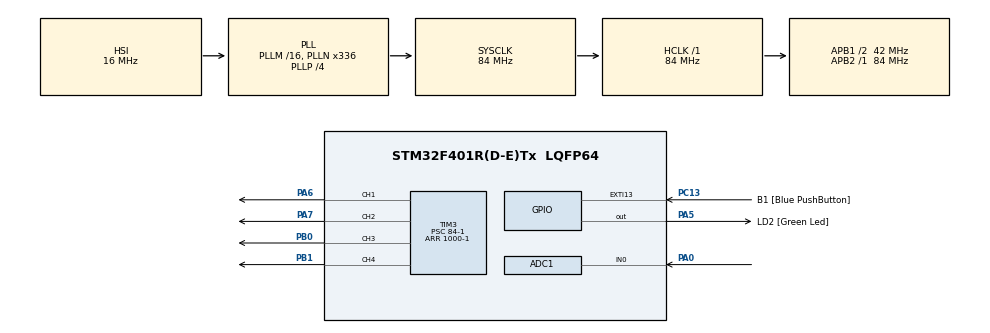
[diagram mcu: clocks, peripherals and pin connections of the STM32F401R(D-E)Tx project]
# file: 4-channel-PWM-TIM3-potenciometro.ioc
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ADC1.Channel-0\#ChannelRegularConversion=ADC_CHANNEL_0
ADC1.NbrOfConversionFlag=1
ADC1.Rank-0\#ChannelRegularConversion=1
ADC1.SamplingTime-0\#ChannelRegularConversion=ADC_SAMPLETIME_3CYCLES
ADC1.master=1
IWDG.Prescaler=IWDG_PRESCALER_256
IWDG.Reload=1249
Mcu.Family=STM32F4
Mcu.Name=STM32F401R(D-E)Tx
Mcu.Package=LQFP64
NVIC.ADC_IRQn=true\:0\:0\:false\:false\:true\:true\:true\:true
NVIC.PriorityGroup=NVIC_PRIORITYGROUP_4
NVIC.TIM2_IRQn=true\:0\:0\:false\:false\:true\:true\:true\:true
PA0-WKUP.Signal=ADCx_IN0
PA13.GPIO_Label=TMS
PA13.Mode=Trace_Asynchronous_SW
PA13.Signal=SYS_JTMS-SWDIO
PA14.GPIO_Label=TCK
PA14.Mode=Trace_Asynchronous_SW
PA14.Signal=SYS_JTCK-SWCLK
PA5.GPIO_Label=LD2 [Green Led]
PA5.GPIO_Mode=GPIO_MODE_OUTPUT_PP
PA5.GPIO_PuPd=GPIO_NOPULL
PA5.GPIO_Speed=GPIO_SPEED_FREQ_LOW
PA5.Signal=GPIO_Output
PA6.Signal=S_TIM3_CH1
PA7.Signal=S_TIM3_CH2
PB0.Signal=S_TIM3_CH3
PB1.Signal=S_TIM3_CH4
PB3.GPIO_Label=SWO
PB3.Mode=Trace_Asynchronous_SW
PB3.Signal=SYS_JTDO-SWO
PC13-ANTI_TAMP.GPIO_Label=B1 [Blue PushButton]
PC13-ANTI_TAMP.GPIO_ModeDefaultEXTI=GPIO_MODE_IT_FALLING
PC13-ANTI_TAMP.GPIO_PuPd=GPIO_NOPULL
PC13-ANTI_TAMP.Signal=GPXTI13
PC14-OSC32_IN.Mode=LSE-External-Oscillator
PC14-OSC32_IN.Signal=RCC_OSC32_IN
PC15-OSC32_OUT.Mode=LSE-External-Oscillator
PC15-OSC32_OUT.Signal=RCC_OSC32_OUT
PH0\ -\ OSC_IN.Mode=HSE-External-Clock-Source
PH0\ -\ OSC_IN.Signal=RCC_OSC_IN
PH1\ -\ OSC_OUT.Mode=HSE-External-Clock-Source
PH1\ -\ OSC_OUT.Signal=RCC_OSC_OUT
ProjectManager.HeapSize=0x200
ProjectManager.StackSize=0x400
ProjectManager.TargetToolchain=STM32CubeIDE
RCC.48MHZClocksFreq_Value=48000000
RCC.AHBFreq_Value=84000000
RCC.APB1CLKDivider=RCC_HCLK_DIV2
RCC.APB1Freq_Value=42000000
RCC.APB1TimFreq_Value=84000000
RCC.APB2Freq_Value=84000000
RCC.APB2TimFreq_Value=84000000
RCC.CortexFreq_Value=84000000
RCC.HCLKFreq_Value=84000000
RCC.HSE_VALUE=8000000
RCC.HSI_VALUE=16000000
RCC.PLLN=336
RCC.PLLP=RCC_PLLP_DIV4
RCC.PLLQ=7
RCC.SYSCLKFreq_VALUE=84000000
RCC.SYSCLKSource=RCC_SYSCLKSOURCE_PLLCLK
RCC.VCOOutputFreq_Value=336000000
SH.ADCx_IN0.0=ADC1_IN0,IN0
SH.S_TIM3_CH1.0=TIM3_CH1,PWM Generation1 CH1
SH.S_TIM3_CH2.0=TIM3_CH2,PWM Generation2 CH2
SH.S_TIM3_CH3.0=TIM3_CH3,PWM Generation3 CH3
SH.S_TIM3_CH4.0=TIM3_CH4,PWM Generation4 CH4
TIM2.AutoReloadPreload=TIM_AUTORELOAD_PRELOAD_ENABLE
TIM2.Period=10000-1
TIM2.Prescaler=84-1
TIM3.Channel-PWM\ Generation1\ CH1=TIM_CHANNEL_1
TIM3.Channel-PWM\ Generation2\ CH2=TIM_CHANNEL_2
TIM3.Channel-PWM\ Generation3\ CH3=TIM_CHANNEL_3
TIM3.Channel-PWM\ Generation4\ CH4=TIM_CHANNEL_4
TIM3.Period=1000-1
TIM3.Prescaler=84-1
VP_IWDG_VS_IWDG.Mode=IWDG_Activate
VP_TIM2_VS_ClockSourceINT.Mode=Internal
VP_TIM3_VS_ClockSourceINT.Mode=Internal
board=NUCLEO-F401RE

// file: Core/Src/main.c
/* USER CODE BEGIN Header */
/**
  ******************************************************************************
  * @file           : main.c
  * @brief          : Main program body
  ******************************************************************************
  * @attention
  *
  * Copyright (c) 2026 STMicroelectronics.
  * All rights reserved.
  *
  * This software is licensed under terms that can be found in the LICENSE file
  * in the root directory of this software component.
  * If no LICENSE file comes with this software, it is provided AS-IS.
  *
  ******************************************************************************
  */
/* USER CODE END Header */
#include "main.h"

ADC_HandleTypeDef hadc1;

IWDG_HandleTypeDef hiwdg;

TIM_HandleTypeDef htim2;
TIM_HandleTypeDef htim3;

uint16_t counter= 0;
uint16_t adc_value= 0;
uint16_t duty= 0;
uint16_t ledstatus= 1;

void SystemClock_Config(void);
static void MX_GPIO_Init(void);
static void MX_IWDG_Init(void);
static void MX_TIM2_Init(void);
static void MX_TIM3_Init(void);
static void MX_ADC1_Init(void);

int main(void)
{

  /* MCU Configuration--------------------------------------------------------*/

  /* Reset of all peripherals, Initializes the Flash interface and the Systick. */
  HAL_Init();

  /* Configure the system clock */
  SystemClock_Config();

  /* Initialize all configured peripherals */
  MX_GPIO_Init();
  MX_IWDG_Init();
  MX_TIM2_Init();
  MX_TIM3_Init();
  MX_ADC1_Init();
  /* USER CODE BEGIN 2 */

  HAL_TIM_PWM_Start(&htim3, TIM_CHANNEL_1);
  HAL_TIM_PWM_Start(&htim3, TIM_CHANNEL_2);
  HAL_TIM_PWM_Start(&htim3, TIM_CHANNEL_3);
  HAL_TIM_PWM_Start(&htim3, TIM_CHANNEL_4);

  HAL_TIM_Base_Start_IT(&htim2);
  /* USER CODE END 2 */

  /* Infinite loop */
  /* USER CODE BEGIN WHILE */
  while (1)
  {
	  HAL_IWDG_Refresh(&hiwdg); // this refreshes the watchdog timer
    /* USER CODE END WHILE */

  }
}

void SystemClock_Config(void)
{
  RCC_OscInitTypeDef RCC_OscInitStruct = {0};
  RCC_ClkInitTypeDef RCC_ClkInitStruct = {0};

  /** Configure the main internal regulator output voltage
  */
  __HAL_RCC_PWR_CLK_ENABLE();
  __HAL_PWR_VOLTAGESCALING_CONFIG(PWR_REGULATOR_VOLTAGE_SCALE2);

  /** Initializes the RCC Oscillators according to the specified parameters
  * in the RCC_OscInitTypeDef structure.
  */
  RCC_OscInitStruct.OscillatorType = RCC_OSCILLATORTYPE_HSI|RCC_OSCILLATORTYPE_LSI;
  RCC_OscInitStruct.HSIState = RCC_HSI_ON;
  RCC_OscInitStruct.HSICalibrationValue = RCC_HSICALIBRATION_DEFAULT;
  RCC_OscInitStruct.LSIState = RCC_LSI_ON;
  RCC_OscInitStruct.PLL.PLLState = RCC_PLL_ON;
  RCC_OscInitStruct.PLL.PLLSource = RCC_PLLSOURCE_HSI;
  RCC_OscInitStruct.PLL.PLLM = 16;
  RCC_OscInitStruct.PLL.PLLN = 336;
  RCC_OscInitStruct.PLL.PLLP = RCC_PLLP_DIV4;
  RCC_OscInitStruct.PLL.PLLQ = 7;
  if (HAL_RCC_OscConfig(&RCC_OscInitStruct) != HAL_OK)
  {
    Error_Handler();
  }

  /** Initializes the CPU, AHB and APB buses clocks
  */
  RCC_ClkInitStruct.ClockType = RCC_CLOCKTYPE_HCLK|RCC_CLOCKTYPE_SYSCLK
                              |RCC_CLOCKTYPE_PCLK1|RCC_CLOCKTYPE_PCLK2;
  RCC_ClkInitStruct.SYSCLKSource = RCC_SYSCLKSOURCE_PLLCLK;
  RCC_ClkInitStruct.AHBCLKDivider = RCC_SYSCLK_DIV1;
  RCC_ClkInitStruct.APB1CLKDivider = RCC_HCLK_DIV2;
  RCC_ClkInitStruct.APB2CLKDivider = RCC_HCLK_DIV1;

  if (HAL_RCC_ClockConfig(&RCC_ClkInitStruct, FLASH_LATENCY_2) != HAL_OK)
  {
    Error_Handler();
  }
}

static void MX_ADC1_Init(void)
{

  ADC_ChannelConfTypeDef sConfig = {0};

  /** Configure the global features of the ADC (Clock, Resolution, Data Alignment and number of conversion)
  */
  hadc1.Instance = ADC1;
  hadc1.Init.ClockPrescaler = ADC_CLOCK_SYNC_PCLK_DIV4;
  hadc1.Init.Resolution = ADC_RESOLUTION_12B;
  hadc1.Init.ScanConvMode = DISABLE;
  hadc1.Init.ContinuousConvMode = DISABLE;
  hadc1.Init.DiscontinuousConvMode = DISABLE;
  hadc1.Init.ExternalTrigConvEdge = ADC_EXTERNALTRIGCONVEDGE_NONE;
  hadc1.Init.ExternalTrigConv = ADC_SOFTWARE_START;
  hadc1.Init.DataAlign = ADC_DATAALIGN_RIGHT;
  hadc1.Init.NbrOfConversion = 1;
  hadc1.Init.DMAContinuousRequests = DISABLE;
  hadc1.Init.EOCSelection = ADC_EOC_SINGLE_CONV;
  if (HAL_ADC_Init(&hadc1) != HAL_OK)
  {
    Error_Handler();
  }

  /** Configure for the selected ADC regular channel its corresponding rank in the sequencer and its sample time.
  */
  sConfig.Channel = ADC_CHANNEL_0;
  sConfig.Rank = 1;
  sConfig.SamplingTime = ADC_SAMPLETIME_3CYCLES;
  if (HAL_ADC_ConfigChannel(&hadc1, &sConfig) != HAL_OK)
  {
    Error_Handler();
  }

}

static void MX_IWDG_Init(void)
{

  hiwdg.Instance = IWDG;
  hiwdg.Init.Prescaler = IWDG_PRESCALER_256;
  hiwdg.Init.Reload = 1249;
  if (HAL_IWDG_Init(&hiwdg) != HAL_OK)
  {
    Error_Handler();
  }

}

static void MX_TIM2_Init(void)
{

  TIM_ClockConfigTypeDef sClockSourceConfig = {0};
  TIM_MasterConfigTypeDef sMasterConfig = {0};

  htim2.Instance = TIM2;
  htim2.Init.Prescaler = 84-1;
  htim2.Init.CounterMode = TIM_COUNTERMODE_UP;
  htim2.Init.Period = 10000-1;
  htim2.Init.ClockDivision = TIM_CLOCKDIVISION_DIV1;
  htim2.Init.AutoReloadPreload = TIM_AUTORELOAD_PRELOAD_ENABLE;
  if (HAL_TIM_Base_Init(&htim2) != HAL_OK)
  {
    Error_Handler();
  }
  sClockSourceConfig.ClockSource = TIM_CLOCKSOURCE_INTERNAL;
  if (HAL_TIM_ConfigClockSource(&htim2, &sClockSourceConfig) != HAL_OK)
  {
    Error_Handler();
  }
  sMasterConfig.MasterOutputTrigger = TIM_TRGO_RESET;
  sMasterConfig.MasterSlaveMode = TIM_MASTERSLAVEMODE_DISABLE;
  if (HAL_TIMEx_MasterConfigSynchronization(&htim2, &sMasterConfig) != HAL_OK)
  {
    Error_Handler();
  }

}

static void MX_TIM3_Init(void)
{

  TIM_ClockConfigTypeDef sClockSourceConfig = {0};
  TIM_MasterConfigTypeDef sMasterConfig = {0};
  TIM_OC_InitTypeDef sConfigOC = {0};

  htim3.Instance = TIM3;
  htim3.Init.Prescaler = 84-1;
  htim3.Init.CounterMode = TIM_COUNTERMODE_UP;
  htim3.Init.Period = 1000-1;
  htim3.Init.ClockDivision = TIM_CLOCKDIVISION_DIV1;
  htim3.Init.AutoReloadPreload = TIM_AUTORELOAD_PRELOAD_DISABLE;
  if (HAL_TIM_Base_Init(&htim3) != HAL_OK)
  {
    Error_Handler();
  }
  sClockSourceConfig.ClockSource = TIM_CLOCKSOURCE_INTERNAL;
  if (HAL_TIM_ConfigClockSource(&htim3, &sClockSourceConfig) != HAL_OK)
  {
    Error_Handler();
  }
  if (HAL_TIM_PWM_Init(&htim3) != HAL_OK)
  {
    Error_Handler();
  }
  sMasterConfig.MasterOutputTrigger = TIM_TRGO_RESET;
  sMasterConfig.MasterSlaveMode = TIM_MASTERSLAVEMODE_DISABLE;
  if (HAL_TIMEx_MasterConfigSynchronization(&htim3, &sMasterConfig) != HAL_OK)
  {
    Error_Handler();
  }
  sConfigOC.OCMode = TIM_OCMODE_PWM1;
  sConfigOC.Pulse = 0;
  sConfigOC.OCPolarity = TIM_OCPOLARITY_HIGH;
  sConfigOC.OCFastMode = TIM_OCFAST_DISABLE;
  if (HAL_TIM_PWM_ConfigChannel(&htim3, &sConfigOC, TIM_CHANNEL_1) != HAL_OK)
  {
    Error_Handler();
  }
  if (HAL_TIM_PWM_ConfigChannel(&htim3, &sConfigOC, TIM_CHANNEL_2) != HAL_OK)
  {
    Error_Handler();
  }
  if (HAL_TIM_PWM_ConfigChannel(&htim3, &sConfigOC, TIM_CHANNEL_3) != HAL_OK)
  {
    Error_Handler();
  }
  if (HAL_TIM_PWM_ConfigChannel(&htim3, &sConfigOC, TIM_CHANNEL_4) != HAL_OK)
  {
    Error_Handler();
  }
  HAL_TIM_MspPostInit(&htim3);

}

static void MX_GPIO_Init(void)
{
  GPIO_InitTypeDef GPIO_InitStruct = {0};

  /* GPIO Ports Clock Enable */
  __HAL_RCC_GPIOC_CLK_ENABLE();
  __HAL_RCC_GPIOH_CLK_ENABLE();
  __HAL_RCC_GPIOA_CLK_ENABLE();
  __HAL_RCC_GPIOB_CLK_ENABLE();

  /*Configure GPIO pin Output Level */
  HAL_GPIO_WritePin(LD2_GPIO_Port, LD2_Pin, GPIO_PIN_RESET);

  /*Configure GPIO pin : B1_Pin */
  GPIO_InitStruct.Pin = B1_Pin;
  GPIO_InitStruct.Mode = GPIO_MODE_IT_FALLING;
  GPIO_InitStruct.Pull = GPIO_NOPULL;
  HAL_GPIO_Init(B1_GPIO_Port, &GPIO_InitStruct);

  /*Configure GPIO pin : LD2_Pin */
  GPIO_InitStruct.Pin = LD2_Pin;
  GPIO_InitStruct.Mode = GPIO_MODE_OUTPUT_PP;
  GPIO_InitStruct.Pull = GPIO_NOPULL;
  GPIO_InitStruct.Speed = GPIO_SPEED_FREQ_LOW;
  HAL_GPIO_Init(LD2_GPIO_Port, &GPIO_InitStruct);

}

/* USER CODE BEGIN 4 */
void HAL_TIM_PeriodElapsedCallback(TIM_HandleTypeDef *htim)
{
  if (htim->Instance == TIM2)
  {
	counter++;
	if(counter > 19 && ledstatus == 1){
    	counter= 0;
    	HAL_GPIO_TogglePin(LD2_GPIO_Port, LD2_Pin);	 // example: toggle LED
    }
    if (HAL_GPIO_ReadPin(B1_GPIO_Port, B1_Pin) == GPIO_PIN_RESET)
        {
    		while(1){

    		}
        }

    // old way to calculate the duty (from previous example)
    /*duty += dir * 10;

    if (duty >= 1000) {
        duty = 1000;
        dir = -1;
    }
    if (duty == 0) {
        dir = 1;
    }*/

    HAL_ADC_Start(&hadc1);
	if (HAL_ADC_PollForConversion(&hadc1, 5) == HAL_OK)
		{
			adc_value = HAL_ADC_GetValue(&hadc1);
			duty= (adc_value * 1000) / 4095; // 0-4095 to 0-1000
	}

    __HAL_TIM_SET_COMPARE(&htim3, TIM_CHANNEL_1, duty);
    __HAL_TIM_SET_COMPARE(&htim3, TIM_CHANNEL_2, 1000 - duty);
    __HAL_TIM_SET_COMPARE(&htim3, TIM_CHANNEL_3, duty / 2);
    __HAL_TIM_SET_COMPARE(&htim3, TIM_CHANNEL_4, 500 - (duty / 2));
  }
}
/* USER CODE END 4 */

void Error_Handler(void)
{
  __disable_irq();
  while (1)
  {
  }
}
